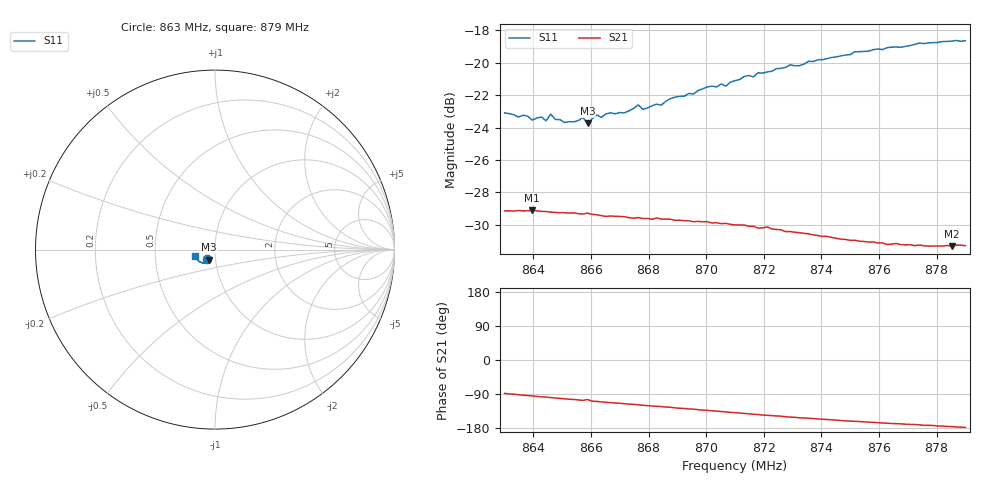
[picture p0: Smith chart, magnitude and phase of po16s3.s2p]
# HZ S RI R 50
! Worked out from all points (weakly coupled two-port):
!   101 points, 863 MHz to 879 MHz, reference 50 ohm
!   highest |S21| = -29.12 dB at 863.96 MHz (marker M1); lowest = -31.3 dB at 878.52 MHz (marker M2)
!   lowest |S11| = -23.7 dB at 865.88 MHz (marker M3), VSWR 1.14, Z = 46.6 - j5.29 ohm
!   |S11| at or under -10 dB: start of sweep to end of sweep
!   S12 and S22 are empty: the file has one direction only
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8.63e8  -0.0443 -0.0542  0.00113 -0.0348  0 0  0 0
8.638e8  -0.0414 -0.0544  -0.0022 -0.0348  0 0  0 0
8.6396e8  -0.0394 -0.0536  -0.00298 -0.0349  0 0  0 0
8.6428e8  -0.0394 -0.0554  -0.00445 -0.0344  0 0  0 0
8.6444e8  -0.0385 -0.0538  -0.00474 -0.0344  0 0  0 0
8.646e8  -0.0416 -0.0555  -0.00546 -0.0341  0 0  0 0
8.6508e8  -0.0359 -0.0546  -0.00739 -0.0336  0 0  0 0
8.6572e8  -0.0351 -0.058  -0.00966 -0.0327  0 0  0 0
8.6588e8  -0.0321 -0.0565  -0.00851 -0.0332  0 0  0 0
8.662e8  -0.0359 -0.0589  -0.0112 -0.032  0 0  0 0
8.6716e8  -0.0332 -0.0616  -0.0143 -0.0303  0 0  0 0
8.6764e8  -0.0373 -0.064  -0.0157 -0.0293  0 0  0 0
8.678e8  -0.0352 -0.0626  -0.0163 -0.0287  0 0  0 0
8.6844e8  -0.0359 -0.0647  -0.0179 -0.0276  0 0  0 0
8.6876e8  -0.0368 -0.0683  -0.0188 -0.027  0 0  0 0
8.7004e8  -0.0438 -0.072  -0.022 -0.0237  0 0  0 0
8.7068e8  -0.0453 -0.0716  -0.0232 -0.0219  0 0  0 0
8.71e8  -0.0489 -0.0733  -0.0237 -0.0208  0 0  0 0
8.7372e8  -0.0679 -0.0747  -0.0266 -0.0126  0 0  0 0
8.7644e8  -0.0931 -0.062  -0.0269 -0.00591  0 0  0 0
8.7852e8  -0.1079 -0.0446  -0.027 -0.00203  0 0  0 0
8.79e8  -0.1106 -0.0383  -0.0272 -0.00096  0 0  0 0
